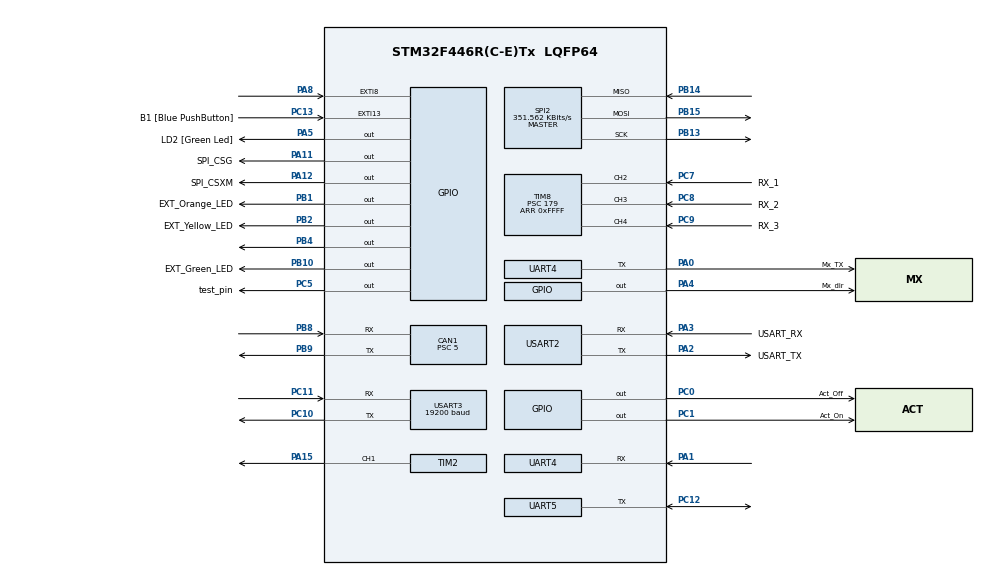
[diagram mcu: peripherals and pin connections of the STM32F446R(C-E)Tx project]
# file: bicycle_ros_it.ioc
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CAN1.ABOM=ENABLE
CAN1.BS1=CAN_BS1_6TQ
CAN1.BS2=CAN_BS2_2TQ
CAN1.CalculateBaudRate=1000000
CAN1.CalculateTimeBit=1000
CAN1.CalculateTimeQuantum=111.11111111111111
CAN1.NART=ENABLE
CAN1.Prescaler=5
Dma.Request0=USART3_TX
Dma.Request1=USART3_RX
Dma.Request2=USART2_RX
Dma.Request3=USART2_TX
Dma.USART2_RX.2.Direction=DMA_PERIPH_TO_MEMORY
Dma.USART2_RX.2.FIFOMode=DMA_FIFOMODE_DISABLE
Dma.USART2_RX.2.Instance=DMA1_Stream5
Dma.USART2_RX.2.MemDataAlignment=DMA_MDATAALIGN_BYTE
Dma.USART2_RX.2.MemInc=DMA_MINC_ENABLE
Dma.USART2_RX.2.Mode=DMA_NORMAL
Dma.USART2_RX.2.PeriphDataAlignment=DMA_PDATAALIGN_BYTE
Dma.USART2_RX.2.PeriphInc=DMA_PINC_DISABLE
Dma.USART2_RX.2.Priority=DMA_PRIORITY_HIGH
Dma.USART2_TX.3.Direction=DMA_MEMORY_TO_PERIPH
Dma.USART2_TX.3.FIFOMode=DMA_FIFOMODE_DISABLE
Dma.USART2_TX.3.Instance=DMA1_Stream6
Dma.USART2_TX.3.MemDataAlignment=DMA_MDATAALIGN_BYTE
Dma.USART2_TX.3.MemInc=DMA_MINC_ENABLE
Dma.USART2_TX.3.Mode=DMA_NORMAL
Dma.USART2_TX.3.PeriphDataAlignment=DMA_PDATAALIGN_BYTE
Dma.USART2_TX.3.PeriphInc=DMA_PINC_DISABLE
Dma.USART2_TX.3.Priority=DMA_PRIORITY_HIGH
Dma.USART3_RX.1.Direction=DMA_PERIPH_TO_MEMORY
Dma.USART3_RX.1.FIFOMode=DMA_FIFOMODE_DISABLE
Dma.USART3_RX.1.Instance=DMA1_Stream1
Dma.USART3_RX.1.MemDataAlignment=DMA_MDATAALIGN_BYTE
Dma.USART3_RX.1.MemInc=DMA_MINC_ENABLE
Dma.USART3_RX.1.Mode=DMA_CIRCULAR
Dma.USART3_RX.1.PeriphDataAlignment=DMA_PDATAALIGN_BYTE
Dma.USART3_RX.1.PeriphInc=DMA_PINC_DISABLE
Dma.USART3_RX.1.Priority=DMA_PRIORITY_LOW
Dma.USART3_TX.0.Direction=DMA_MEMORY_TO_PERIPH
Dma.USART3_TX.0.FIFOMode=DMA_FIFOMODE_DISABLE
Dma.USART3_TX.0.Instance=DMA1_Stream3
Dma.USART3_TX.0.MemDataAlignment=DMA_MDATAALIGN_BYTE
Dma.USART3_TX.0.MemInc=DMA_MINC_ENABLE
Dma.USART3_TX.0.Mode=DMA_NORMAL
Dma.USART3_TX.0.PeriphDataAlignment=DMA_PDATAALIGN_BYTE
Dma.USART3_TX.0.PeriphInc=DMA_PINC_DISABLE
Dma.USART3_TX.0.Priority=DMA_PRIORITY_LOW
Mcu.Family=STM32F4
Mcu.Name=STM32F446R(C-E)Tx
Mcu.Package=LQFP64
NVIC.CAN1_RX0_IRQn=true\:0\:0\:false\:false\:true\:true\:true\:true
NVIC.DMA1_Stream1_IRQn=true\:0\:0\:false\:false\:true\:false\:true\:true
NVIC.DMA1_Stream3_IRQn=true\:0\:0\:false\:false\:true\:false\:true\:true
NVIC.DMA1_Stream5_IRQn=true\:0\:0\:false\:false\:true\:false\:true\:true
NVIC.DMA1_Stream6_IRQn=true\:0\:0\:false\:false\:true\:false\:true\:true
NVIC.PriorityGroup=NVIC_PRIORITYGROUP_0
NVIC.TIM1_TRG_COM_TIM11_IRQn=true\:0\:0\:false\:false\:true\:true\:true\:true
NVIC.TIM2_IRQn=true\:0\:0\:false\:false\:true\:true\:true\:true
NVIC.TIM8_BRK_TIM12_IRQn=true\:0\:0\:false\:false\:true\:true\:true\:true
NVIC.TIM8_CC_IRQn=true\:0\:0\:false\:false\:true\:true\:true\:true
NVIC.TIM8_TRG_COM_TIM14_IRQn=true\:0\:0\:false\:false\:true\:true\:true\:true
NVIC.UART4_IRQn=true\:0\:0\:false\:false\:true\:true\:true\:true
NVIC.USART2_IRQn=true\:0\:0\:false\:false\:true\:true\:true\:true
NVIC.USART3_IRQn=true\:0\:0\:false\:false\:true\:true\:true\:true
PA0-WKUP.GPIO_Label=Mx_TX
PA0-WKUP.Mode=Asynchronous
PA0-WKUP.Signal=UART4_TX
PA1.Mode=Asynchronous
PA1.Signal=UART4_RX
PA11.GPIO_Label=SPI_CSG
PA11.Signal=GPIO_Output
PA12.GPIO_Label=SPI_CSXM
PA12.Signal=GPIO_Output
PA13.GPIO_Label=TMS
PA13.Mode=Serial_Wire
PA13.Signal=SYS_JTMS-SWDIO
PA14.GPIO_Label=TCK
PA14.Mode=Serial_Wire
PA14.Signal=SYS_JTCK-SWCLK
PA15.Signal=S_TIM2_CH1_ETR
PA2.GPIO_Label=USART_TX
PA2.GPIO_PuPd=GPIO_PULLUP
PA2.Mode=Asynchronous
PA2.Signal=USART2_TX
PA3.GPIO_Label=USART_RX
PA3.GPIO_PuPd=GPIO_PULLUP
PA3.Mode=Asynchronous
PA3.Signal=USART2_RX
PA4.GPIO_Label=Mx_dir
PA4.Signal=GPIO_Output
PA5.GPIO_Label=LD2 [Green Led]
PA5.Signal=GPIO_Output
PA8.Signal=GPXTI8
PB1.GPIO_Label=EXT_Orange_LED
PB1.Signal=GPIO_Output
PB10.GPIO_Label=EXT_Green_LED
PB10.Signal=GPIO_Output
PB13.GPIO_Speed=GPIO_SPEED_FREQ_LOW
PB13.Mode=Full_Duplex_Master
PB13.Signal=SPI2_SCK
PB14.GPIO_Speed=GPIO_SPEED_FREQ_LOW
PB14.Mode=Full_Duplex_Master
PB14.Signal=SPI2_MISO
PB15.GPIO_Speed=GPIO_SPEED_FREQ_LOW
PB15.Mode=Full_Duplex_Master
PB15.Signal=SPI2_MOSI
PB2.GPIO_Label=EXT_Yellow_LED
PB2.Signal=GPIO_Output
PB3.GPIO_Label=SWO
PB3.Signal=SYS_JTDO-SWO
PB4.Signal=GPIO_Output
PB8.GPIO_PuPd=GPIO_NOPULL
PB8.Mode=CAN_Activate
PB8.Signal=CAN1_RX
PB9.Mode=CAN_Activate
PB9.Signal=CAN1_TX
PC0.GPIO_Label=Act_Off
PC0.Signal=GPIO_Output
PC1.GPIO_Label=Act_On
PC1.Signal=GPIO_Output
PC10.GPIO_PuPd=GPIO_PULLUP
PC10.Mode=Asynchronous
PC10.Signal=USART3_TX
PC11.GPIO_PuPd=GPIO_PULLUP
PC11.Mode=Asynchronous
PC11.Signal=USART3_RX
PC12.GPIO_PuPd=GPIO_PULLUP
PC12.Mode=Half_duplex(single_wire_mode)
PC12.Signal=UART5_TX
PC13.GPIO_Label=B1 [Blue PushButton]
PC13.GPIO_ModeDefaultEXTI=GPIO_MODE_IT_FALLING
PC13.Signal=GPXTI13
PC14-OSC32_IN.Mode=LSE-External-Oscillator
PC14-OSC32_IN.Signal=RCC_OSC32_IN
PC15-OSC32_OUT.Mode=LSE-External-Oscillator
PC15-OSC32_OUT.Signal=RCC_OSC32_OUT
PC5.GPIO_Label=test_pin
PC5.Signal=GPIO_Output
PC7.GPIO_Label=RX_1
PC7.GPIO_PuPd=GPIO_PULLUP
PC7.Signal=S_TIM8_CH2
PC8.GPIO_Label=RX_2
PC8.GPIO_PuPd=GPIO_PULLUP
PC8.Signal=S_TIM8_CH3
PC9.GPIO_Label=RX_3
PC9.GPIO_PuPd=GPIO_PULLUP
PC9.Signal=S_TIM8_CH4
PH0-OSC_IN.Mode=HSE-External-Clock-Source
PH0-OSC_IN.Signal=RCC_OSC_IN
PH1-OSC_OUT.Mode=HSE-External-Clock-Source
PH1-OSC_OUT.Signal=RCC_OSC_OUT
ProjectManager.HeapSize=0x200
ProjectManager.StackSize=0x400
ProjectManager.TargetToolchain=STM32CubeIDE
RCC.48MHZClocksFreq_Value=84000000
RCC.AHBFreq_Value=180000000
RCC.APB1CLKDivider=RCC_HCLK_DIV4
RCC.APB1Freq_Value=45000000
RCC.APB1TimFreq_Value=90000000
RCC.APB2CLKDivider=RCC_HCLK_DIV2
RCC.APB2Freq_Value=90000000
RCC.APB2TimFreq_Value=180000000
RCC.CortexFreq_Value=180000000
RCC.FLatency-AdvancedSettings=FLASH_LATENCY_5
RCC.HCLKFreq_Value=180000000
RCC.HSE_VALUE=8000000
RCC.HSI_VALUE=16000000
RCC.PLLM=8
RCC.PLLN=360
RCC.PLLSourceVirtual=RCC_PLLSOURCE_HSE
RCC.SYSCLKFreq_VALUE=180000000
RCC.SYSCLKSource=RCC_SYSCLKSOURCE_PLLCLK
RCC.USBFreq_Value=180000000
RCC.VCOOutputFreq_Value=360000000
SH.S_TIM2_CH1_ETR.0=TIM2_CH1,Output Compare1 CH1
SH.S_TIM8_CH2.0=TIM8_CH2,PWM_Input_2
SH.S_TIM8_CH3.0=TIM8_CH3,Input_Capture3_from_TI3
SH.S_TIM8_CH4.0=TIM8_CH4,Input_Capture4_from_TI4
SPI2.BaudRatePrescaler=SPI_BAUDRATEPRESCALER_128
SPI2.CLKPhase=SPI_PHASE_2EDGE
SPI2.CLKPolarity=SPI_POLARITY_HIGH
SPI2.CalculateBaudRate=351.562 KBits/s
SPI2.DataSize=SPI_DATASIZE_16BIT
SPI2.Direction=SPI_DIRECTION_2LINES
SPI2.Mode=SPI_MODE_MASTER
SPI2.VirtualType=VM_MASTER
TIM11.Period=60000
TIM11.Prescaler=29
TIM12.Period=60000
TIM12.Prescaler=49
TIM14.Period=60000
TIM14.Prescaler=149
TIM2.Channel-Output\ Compare1\ CH1=TIM_CHANNEL_1
TIM5.Channel-Output\ Compare1\ No\ Output=TIM_CHANNEL_1
TIM8.Channel-Input_Capture3_from_TI3=TIM_CHANNEL_3
TIM8.Channel-Input_Capture4_from_TI4=TIM_CHANNEL_4
TIM8.ICFilter_1=2
TIM8.ICFilter_2=2
TIM8.ICFilter_CH3=2
TIM8.ICFilter_CH4=2
TIM8.ICPolarity_1=TIM_INPUTCHANNELPOLARITY_FALLING
TIM8.ICPolarity_CH3=TIM_INPUTCHANNELPOLARITY_FALLING
TIM8.ICPolarity_CH4=TIM_INPUTCHANNELPOLARITY_FALLING
TIM8.Period=0xFFFF
TIM8.Prescaler=179
UART4.BaudRate=1000000
UART4.VirtualMode=Asynchronous
UART5.VirtualMode=Asynchronous
USART2.VirtualMode=VM_ASYNC
USART3.BaudRate=19200
USART3.VirtualMode=VM_ASYNC
VP_TIM11_VS_ClockSourceINT.Mode=Enable_Timer
VP_TIM12_VS_ClockSourceINT.Mode=Internal
VP_TIM14_VS_ClockSourceINT.Mode=Enable_Timer
VP_TIM5_VS_no_output1.Mode=Output Compare1 No Output
VP_TIM8_VS_ClockSourceINT.Mode=Internal
board=NUCLEO-F446RE

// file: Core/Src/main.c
/* USER CODE BEGIN Header */
/**
  ******************************************************************************
  * @file           : main.c
  * @brief          : Main program body
  ******************************************************************************
  * @attention
  *
  * Copyright (c) 2023 STMicroelectronics.
  * All rights reserved.
  *
  * This software is licensed under terms that can be found in the LICENSE file
  * in the root directory of this software component.
  * If no LICENSE file comes with this software, it is provided AS-IS.
  *
  ******************************************************************************
  */
/* USER CODE END Header */
#include "main.h"
#include "can.h"
#include "dma.h"
#include "spi.h"
#include "tim.h"
#include "usart.h"
#include "gpio.h"

/* USER CODE BEGIN Includes */
#include "mainpp.h"
#include <stdio.h>
#include "OpenIMU.h"
#include "sensor_fusion.h"
#include "MxMotor.h"
#include "dynamixel.h"
#include "controller.h"
#include "EKF.h"
#include "pure_pursuit.h"
#include "Tracking.h"
#include "LCD.h"
#include "can.h"
/* USER CODE END Includes */

/* USER CODE BEGIN PD */
#ifdef __GNUC__
  #define PUTCHAR_PROTOTYPE int __io_putchar(int ch)
#else
  #define PUTCHAR_PROTOTYPE int fputc(int ch, FILE *f)
#endif /* __GNUC__ */
/* USER CODE END PD */

/* USER CODE BEGIN PV */
int i = 0;

CAN_TxHeaderTypeDef TxMSG;
CAN_RxHeaderTypeDef RxMSG;
uint8_t TxData[8];
uint8_t RxData[8];
uint32_t TxMailbox;
float V_current;
uint8_t gpsdata[36];  // for details, read stm32f4xx_it.c usart3
uint8_t update_gps;
float velocity_cmd = V_REF;
float imu_bias = 0;
uint8_t emergency_brake_flag = 0;
uint8_t velocity_cmd_flag = 0;		// Remote on mean velocity > 0
uint8_t tracking_first_flag = 0;		// to recoder the first shift time	//Remember

float delta_ref = MXHEX_CENTER* PI / 180.0f;
float theta_x = 0.0f;
float theta_y = 0.0f;
float acc[3]  = { 0.0f, 0.0f, -GRAVITY };
float gyro[3] = { 0.0f };

float state[3] = {0};
float tracking_control[2] = { 0 };                  // tracking output (1):velocity (m/s) (2):omega (rad/s)
// ============= Remote Parameters ===============
uint16_t RX1 = REMOTE_CENTER;
uint16_t RX2 = REMOTE_CENTER;
uint16_t RX3 = REMOTE_LOWER;
/* USER CODE END PV */

void SystemClock_Config(void);
/* USER CODE BEGIN PFP */
uint8_t check_sum(void);	// check the DMA GPS data checkSum
void EmergencyBrake(void);	// let the vehicle stop
/* USER CODE END PFP */

int main(void)
{

  /* MCU Configuration--------------------------------------------------------*/

  /* Reset of all peripherals, Initializes the Flash interface and the Systick. */
  HAL_Init();

  /* Configure the system clock */
  SystemClock_Config();

  /* USER CODE BEGIN SysInit */
  LL_Init1msTick(180000000);			//Add here to fix MX generated code
  LL_SYSTICK_SetClkSource(LL_SYSTICK_CLKSOURCE_HCLK);
  LL_SYSTICK_EnableIT();
  /* USER CODE END SysInit */

  /* Initialize all configured peripherals */
  MX_GPIO_Init();
  MX_DMA_Init();
  MX_CAN1_Init();
  MX_SPI2_Init();
  MX_TIM2_Init();
  MX_TIM5_Init();
  MX_TIM8_Init();
  MX_UART4_Init();
  MX_USART2_UART_Init();
  MX_USART3_UART_Init();
  MX_UART5_Init();
  MX_TIM14_Init();
  MX_TIM12_Init();
  MX_TIM11_Init();
  /* USER CODE BEGIN 2 */
#ifdef USE_ROS
  setup();
  HAL_TIM_Base_Start_IT(&htim14);
#endif
//  HAL_TIM_Base_Start_IT(&htim5);
  HAL_TIM_Base_Start_IT(&htim11);
  HAL_TIM_Base_Start_IT(&htim12);

  // ========== INITIALIZE CAN =======================
  CAN_Filter_Init();
  TxMSG_Init(&TxMSG);
  if (HAL_CAN_Start(&hcan1) != HAL_OK) {
   while (1);
  }
  HAL_CAN_ActivateNotification(&hcan1, CAN_IT_RX_FIFO0_MSG_PENDING);

  // =========== INTERRUPT ENABLE ====================
  LL_USART_EnableIT_RXNE(UART4);
  LL_TIM_EnableIT_CC1(TIM2);
  LL_USART_EnableIT_RXNE(USART3);
  LL_TIM_CC_EnableChannel(TIM8,	TIM_CCER_CC1E | TIM_CCER_CC2E |
     TIM_CCER_CC3E | TIM_CCER_CC4E);	// Enable all PWM input port
  LL_TIM_EnableIT_CC1(TIM8);			// Enable PWM input capture interrupt
  LL_TIM_EnableCounter(TIM8);			// Start timer8 for PWM input capture
  LL_EXTI_EnableRisingTrig_0_31(LL_EXTI_LINE_8);
  LL_EXTI_EnableIT_0_31(LL_EXTI_LINE_8);

  // ============ GPS DMA SETUP =======================
  LL_DMA_SetPeriphAddress(DMA1, LL_DMA_STREAM_1, LL_USART_DMA_GetRegAddr(USART3));
  LL_DMA_SetMemoryAddress(DMA1, LL_DMA_STREAM_1, (uint32_t) gpsdata);
  LL_DMA_SetDataLength(DMA1, LL_DMA_STREAM_1, sizeof(gpsdata));

  // ============ HAL Time Interrupt Initialize =======
  uint32_t now = 0;
  uint32_t oldlog_time = 0;
  uint32_t oldfir_time = 0;
  uint32_t oldcan_time = 0;
  uint32_t olddebug_time = 0;
  uint32_t oldcol_time = 0;
  uint32_t oldekf_time = 0;
  uint32_t oldrmt_time = 0;
  uint32_t time_start = 0;				// to record back support down time
  uint32_t time_stop = 0;

  // ============ Flag Parameter Initialize ===========
  uint8_t vel_first_flag = 0;			// velocity > limit minimum velocity (1.5)
//  uint8_t velocity_cmd_flag = 0;		// Remote on mean velocity > 0
  uint8_t check_flag = 0; 				// GPS check sum
  uint8_t turn_circle_flag = 0;			// tracking line or arc
//  uint8_t tracking_first_flag = 0;		// to recoder the first shift time	//Remember
//  uint8_t emergency_brake_flag = 0;		// Emergency Brake System
//
  // ============ Tracking Parameter Initialize =======
  float way_point_begin[2] = { 60.2217f, 8.9381f};	  // tracking begin way_point
  float way_point_end[2]   = { 10.06f, 32.6295f };    // tracking end way_point
  float circle_point[2]    = { 13.2039f, 39.2861f };  // if tracking trajectory is arc
  float radius = 7.3617f;					          // tracking trajectory arc radius
//  float tracking_control[2] = { 0 };                  // tracking output (1):velocity (m/s) (2):omega (rad/s)
  float stateD[3] = { 0.0f };
//  float imu_bias = 0;
  uint8_t line = 3;									  // tracking stage
  uint8_t stage = 8;
  uint32_t time_shift = 0;	                          // normalize time in tracking process each stage

//  // ============= Remote Parameters ===============
//  uint16_t RX1 = REMOTE_CENTER;
//  uint16_t RX2 = REMOTE_CENTER;
//  uint16_t RX3 = REMOTE_LOWER;

  // ============= CAN Parameters ==================
//  float velocity_cmd = V_REF;

//  // ============= IMU Parameters ==================
//  float theta_x = 0.0f;
//  float theta_y = 0.0f;
//  float acc[3]  = { 0.0f, 0.0f, -GRAVITY };
//  float gyro[3] = { 0.0f };
//
  // ============= Controller Parameters ===========
  float remote_control = 0.0f;
  float delta_goal     = 0.0f;

  // ============= EKF Parameters ==================
  float init_x = 79.5f;								//the vehicle initial point
  float init_y = -3.0f;
  float init_phi = 2.7f;
  float point_current[2] = { init_x, init_y };
  float gps_drift[2] = {0.0f};
  float horizontal_accuracy = 0.0f;
  float vertical_accuracy = 0.0f;
  double lat_current;
  double lon_current;
  float mu[4] = { init_x, init_y, init_phi, 0.0f }; // X Y Phi velocity

  // ============= LCD Parameters ==================
  uint8_t LCD_tx[17] = {0};

  // ============= MX Motor Initialization ========
#ifdef INIT_MX
  HAL_Delay(1000);							//wait init 1(second)
#if MXSPEEDCTRL == 0
  AngleLimit(MXUPPER_BOUND, MXLOWER_BOUND); // setup the Mx motor limit angle
//	PIDsetup(185,115,15);					// Mx motor setup PID gain
  Motor();									// so min control angle 0.088 degree
#endif
#if MXSPEEDCTRL == 1
  AngleLimit(0x00, 0x00);
  HAL_Delay(1000);
  dxl_write_word(MOTOR_ID, P_GOAL_SPEED_L, 0x00); // >0x400 is turn left
  printf("Hello this is Mx motor speed mode\r\n");
#endif
//	Torque_off();
#endif

  // ====== Lower Back Support Of Bicycle ========
#ifdef REMOTE_START
  LL_GPIO_ResetOutputPin(GPIOC, Act_Off_Pin);	// down
  LL_GPIO_SetOutputPin(GPIOC, Act_On_Pin);
#endif

  // ============= LCD Initialization ========
  HAL_HalfDuplex_EnableTransmitter(&huart5); 	// LCD display
  /* USER CODE END 2 */

  /* Infinite loop */
  /* USER CODE BEGIN WHILE */
  while (1)
  {

	// ================== Start CAN Logger And LCD ================
#ifdef CANLOG
	now = HAL_GetTick();
	uint16_t logdt = now - oldlog_time;
	if (logdt >= CANLOGSAMPLE) {
		oldlog_time = HAL_GetTick();
		float accuracy[2] = {vertical_accuracy, horizontal_accuracy};
		CanLogger(theta_x, theta_y, gyro, acc, mu, check_flag,
				remote_control, delta_goal, point_current, tracking_control,
				tracking_first_flag, stateD, accuracy); // need final test

		// ============ Pass LCD Data At Every Can Tick ============
#ifdef LCD
		LcdData(LCD_tx, mu, accuracy, point_current, V_current, theta_x, theta_y, tracking_first_flag);
		HAL_UART_Transmit(&huart5, LCD_tx, sizeof(LCD_tx), 2000);
#endif
	}
#endif

	//  ========================== Remote control ==========================
	if(!velocity_cmd_flag){
	    estimator(theta_x, gyro[0], &imu_bias);
	}

	if (!vel_first_flag) {
#ifdef VELOCITY
#ifdef REMOTE_START
		if (RX3 >= REMOTE_UPPER * (1 - REMOTE_ERROR) && RX3 <= REMOTE_UPPER * (1 + REMOTE_ERROR)) {//if remote is on
			// Activates when the switch on the side is switched up! Turn the velocity_cmd_flag on
			velocity_cmd = V_REF;
			velocity_cmd_flag = 1;
		} else {
			velocity_cmd = 0.0f;
			velocity_cmd_flag = 0;
		}
#endif
		// =========== Lift Back Support Of Bicycle At V_STD ==============
		if (V_current > V_STD) {
			vel_first_flag = 1;							//@TODO maybe need to check v0 > 1.5(m/s) if velocity have peak
			LL_GPIO_SetOutputPin(GPIOC, Act_Off_Pin);	//up
			LL_GPIO_SetOutputPin(GPIOC, Act_On_Pin);
		}

#ifdef NOSPEEDMODE
		if(velocity_cmd_flag)vel_first_flag = 1;
#endif

#endif
	}else{
#ifdef REMOTE_STOP
		// ============== Situation Where The Remote Is Switched Off =========
		if (RX3 <= REMOTE_LOWER * (1 + REMOTE_ERROR) && RX3 >= REMOTE_LOWER * (1 - REMOTE_ERROR)) {
			// ========== Lower back support ==================================
			LL_GPIO_ResetOutputPin(GPIOC, Act_Off_Pin);	//down
			LL_GPIO_SetOutputPin(GPIOC, Act_On_Pin);

			// ========== Count down time till back support is fully lowered, then stop the vehicle
			if (time_start == 0) {
				time_start = HAL_GetTick();
			} else {
				time_stop = HAL_GetTick();
				uint16_t cntdt = time_stop - time_start;
				if (cntdt > BACKSUPTIME) {		// to calculate 18 second
					emergency_brake_flag = 1;
				}
			}
		}
#endif
	}

#if TESTEKF == 1
	if (RX2 <= REMOTE_LOWER * (1 + REMOTE_ERROR) && RX2 >= (1 - REMOTE_ERROR) * REMOTE_LOWER) {
		// Pull down the trigger to lift the back support up
		LL_GPIO_SetOutputPin(GPIOC, Act_Off_Pin);
		LL_GPIO_SetOutputPin(GPIOC, Act_On_Pin);
	}else{
		if(velocity_cmd_flag) {
			velocity_cmd = V_REF;
			tracking_control[0] = V_REF;
		}
	}
#endif

	// Stop bicycle by pulling up the controller trigger (Actual breaking system!!)
	if (RX2 <= REMOTE_UPPER * (1 + REMOTE_ERROR) && RX2 >= REMOTE_UPPER * (1 - REMOTE_ERROR)){
		emergency_brake_flag = 1;
	}
	if(emergency_brake_flag) EmergencyBrake();

	// ================= Read IMU Data Through SPI2 =======================
#ifdef USE_OPENIMU
	if (LL_EXTI_ReadFlag_0_31(LL_EXTI_LINE_8)) {  // Read IMU data when external interrupt triggered from IMU
		openIMU(&theta_x, acc, gyro, &theta_y);
		LL_EXTI_ClearFlag_0_31(LL_EXTI_LINE_8);
	}
#endif

	// ================= IMU Position Display (LED Shield) =================
#ifdef USE_TILTLED
	if (tracking_first_flag == 0){
		// light signal (shield LED)
		if (theta_x == 0 && theta_y == 0){                       	   // if no IMU data is received, make all three lights light up
			HAL_GPIO_WritePin(GPIOB, GPIO_PIN_1 ,GPIO_PIN_SET); 	   // Green LED (right)
			HAL_GPIO_WritePin(GPIOB, GPIO_PIN_2 ,GPIO_PIN_SET);  	   // Red   LED (middle)
			HAL_GPIO_WritePin(GPIOB, GPIO_PIN_10,GPIO_PIN_SET);  	   // Green LED (left)
		}
		else{
			double angle_margin = 0.02;
			if (theta_x > (0.0 + angle_margin)){                       // if the bicycle is about horizontal, light up the red LED
				HAL_GPIO_WritePin(GPIOB, GPIO_PIN_1 ,GPIO_PIN_RESET);  // Green LED
				HAL_GPIO_WritePin(GPIOB, GPIO_PIN_2 ,GPIO_PIN_SET);    // Red   LED
				HAL_GPIO_WritePin(GPIOB, GPIO_PIN_10,GPIO_PIN_RESET);  // Green LED
			}
			else if (theta_x < (0.0 - angle_margin)){                  // if the bicycle is tilted left (about x-axis), light up the left green LED
				HAL_GPIO_WritePin(GPIOB, GPIO_PIN_1 ,GPIO_PIN_RESET);  // Green LED
				HAL_GPIO_WritePin(GPIOB, GPIO_PIN_2 ,GPIO_PIN_RESET);  // Red   LED
				HAL_GPIO_WritePin(GPIOB, GPIO_PIN_10,GPIO_PIN_SET);    // Green LED
			}
			else{                                                      // if the bicycle is tilted right (about x-axis), light up the right green LED
				HAL_GPIO_WritePin(GPIOB, GPIO_PIN_1 ,GPIO_PIN_SET);    // Green LED
				HAL_GPIO_WritePin(GPIOB, GPIO_PIN_2 ,GPIO_PIN_RESET);  // Red   LED
				HAL_GPIO_WritePin(GPIOB, GPIO_PIN_10,GPIO_PIN_RESET);  // Green LED
			}
		}
	}
#endif

	// ========================== Open RTK GPS ==========================
#ifdef RTK_GPS
	now = HAL_GetTick();
	uint16_t ekfdt = now - oldekf_time;
	if (ekfdt >= EKFSAMPLE) {
		if(update_gps && velocity_cmd_flag){        // First check if the GPS data is correct
			check_flag = check_sum();
			if (check_flag != 3) {
				update_gps = 0;						// if check sum error (not equal to 3), don't update GPS
			}
		}
		if (update_gps) {							// Process the "correct" GPS data
			readGPS(&lat_current, &lon_current);
			gpsXY(lat_current, lon_current, point_current);
			ReadAccuracyEstimate(&horizontal_accuracy,&vertical_accuracy);
		}
		if (velocity_cmd_flag) {					// "velocity_cmd_flag":= The bicycle is moving
			if(update_gps){
				point_current[0] = point_current[0] + gps_drift[0];
				point_current[1] = point_current[1] + gps_drift[1];
			}
			// ========== Perform The EKF Algorithm For Localization ===========
//			EKF_filter(mu, theta_x, acc, gyro, point_current, V_current, theta_y, horizontal_accuracy);
		} else {
			gps_drift[0] = init_x - point_current[0];  // Seems like the distance difference instead of drift?
			gps_drift[1] = init_y - point_current[1];
		}
	}
#endif

	// ================ EKF Mode, Pass current velocity to EKF ===============
#ifndef EKF
	mu[3] = V_current;  // Seems unnecessary?
#endif

// ======================= Read MX Motor Position ======================
	int delta_refu16_tmp = 0;
	uint8_t position_state;
	delta_refu16_tmp = dxl_read_word(MOTOR_ID, P_PRESENT_POSITION_L);
	position_state = dxl_get_result();
	if (position_state == COMM_RXSUCCESS) {
		if (delta_refu16_tmp < MXUPPER_BOUND && delta_refu16_tmp > MXLOWER_BOUND) {
			delta_ref = (float) (MXHEX_CENTER - delta_refu16_tmp) * MXHEX2DEC * DEG2RAD;
		}
	}

	// ====================== Compute state ======================
	state[0] = theta_x;
	state[1] = gyro[0];
	state[2] = delta_ref;

	// ================ Bicycle Control ======================================
#ifdef CONTROL
	now = HAL_GetTick();
	uint16_t coldt = now - oldcol_time;
	if (coldt >= COLSAMPLE && vel_first_flag) {
		oldcol_time = HAL_GetTick();
#if MXSPEEDCTRL == 0
		float disx = powf(mu[0] - stateD[0], 2);  // Distance between "current state" and "tracking virtual state"
		float disy = powf(mu[1] - stateD[1], 2);
		float dis_mu2state = sqrtf(disx + disy);
		uint8_t dis_flag = dis_mu2state > 0.5f ? 1 : 0;
		dis_flag = line == 3 ? dis_flag : 0;
//		PDControl(theta_x, gyro[0], tracking_control[1], &remote_control, &delta_goal,dis_flag, imu_bias);
//		LMII(theta_x, gyro[0], tracking_control[0], tracking_control[1], &remote_control, &delta_goal, V_current,dis_flag, imu_bias);

//		LMIII(state, V_current, tracking_control, RX1);
		PDD(state, V_current, tracking_control, RX1, dis_flag);
#endif

#if MXSPEEDCTRL == 1
		float disx = powf(mu[0] - stateD[0], 2);
		float disy = powf(mu[1] - stateD[1], 2);
		float dis_mu2state = sqrtf(disx + disy);
		uint8_t dis_flag = dis_mu2state > 0.5f ? 1 : 0;
		dis_flag = line == 3 ? dis_flag : 0;
		PDControl(theta_x, gyro[0], tracking_control[1], &remote_control, &delta_goal,dis_flag);
		controldesign(theta_x, gyro[0], tracking_control[1], &remote_control, &delta_goal, mu[3]);
#endif
	}
#endif

	float acc_x = acc[0] + GRAVITY*sinf(theta_y);
	float position_omega = gyro[2]/cosf(theta_x);
	loop2(&theta_x, &gyro[0], &delta_ref, &V_current, tracking_control, acc_x, position_omega, &lat_current, &lon_current, &horizontal_accuracy, (int)update_gps, point_current);

//	printf("vel: %d\r\n", (int)(V_current*10));
    /* USER CODE END WHILE */

  }
}

void SystemClock_Config(void)
{
  LL_FLASH_SetLatency(LL_FLASH_LATENCY_5);
  while(LL_FLASH_GetLatency()!= LL_FLASH_LATENCY_5)
  {
  }
  LL_PWR_SetRegulVoltageScaling(LL_PWR_REGU_VOLTAGE_SCALE1);
  LL_PWR_EnableOverDriveMode();
  LL_RCC_HSE_EnableBypass();
  LL_RCC_HSE_Enable();

   /* Wait till HSE is ready */
  while(LL_RCC_HSE_IsReady() != 1)
  {

  }
  LL_RCC_PLL_ConfigDomain_SYS(LL_RCC_PLLSOURCE_HSE, LL_RCC_PLLM_DIV_8, 360, LL_RCC_PLLP_DIV_2);
  LL_RCC_PLL_Enable();

   /* Wait till PLL is ready */
  while(LL_RCC_PLL_IsReady() != 1)
  {

  }
  LL_RCC_SetAHBPrescaler(LL_RCC_SYSCLK_DIV_1);
  LL_RCC_SetAPB1Prescaler(LL_RCC_APB1_DIV_4);
  LL_RCC_SetAPB2Prescaler(LL_RCC_APB2_DIV_2);
  LL_RCC_SetSysClkSource(LL_RCC_SYS_CLKSOURCE_PLL);

   /* Wait till System clock is ready */
  while(LL_RCC_GetSysClkSource() != LL_RCC_SYS_CLKSOURCE_STATUS_PLL)
  {

  }
  LL_SetSystemCoreClock(180000000);

   /* Update the time base */
  if (HAL_InitTick (TICK_INT_PRIORITY) != HAL_OK)
  {
    Error_Handler();
  }
  LL_RCC_SetTIMPrescaler(LL_RCC_TIM_PRESCALER_TWICE);
}

/* USER CODE BEGIN 4 */
int _write(int file, char *ptr, int len) {
	int DataIdx;
	for (DataIdx = 0; DataIdx < len; DataIdx++) {
		LL_USART_TransmitData8(USART2, (uint8_t) *ptr++);
		while (LL_USART_IsActiveFlag_TXE(USART2) == RESET)
			;
	}
	return len;
}

void start_read(uint16_t *RX1, uint16_t *RX2, uint16_t *RX3) {
	*RX1 = LL_TIM_IC_GetCaptureCH1(TIM8);
	*RX2 = LL_TIM_IC_GetCaptureCH3(TIM8);
	*RX3 = LL_TIM_IC_GetCaptureCH4(TIM8);	// *this is correct to read CH3
}

uint8_t check_sum() {	//checkSum A OK is one , checkSum B OK is two , if all OK return three
	uint8_t flag = 0;
	uint8_t CK_A = 0;
	uint8_t CK_B = 0;
	for (int i = 2; i < sizeof(gpsdata) - 2; i++) {
		CK_A = CK_A + gpsdata[i];
		CK_B = CK_B + CK_A;
	}
	if (CK_A == gpsdata[sizeof(gpsdata) - 2]) {
		flag = 2;
	}
	if (CK_B == gpsdata[sizeof(gpsdata) - 1]) {
		flag++;
	}
	return flag;
}

void EmergencyBrake(void){	// make vehicle stop and shut down system

	float velocity_cmd_stop =0.1f; // the FOC v_cmd 0-m/s is 0 Torque

	uint32_t now = 0;
	now = HAL_GetTick();
	while (HAL_CAN_GetTxMailboxesFreeLevel(&hcan1) == 0) {// have to wait because can message must transmit in time
		if ((HAL_GetTick() - now) > 4U) {
			break;
		}
	}
	if (HAL_CAN_GetTxMailboxesFreeLevel(&hcan1) != 0) {
		uint16_t v_cmd;
		v_cmd = velocity_cmd_stop * CAN_TX_GAIN;
		TxData[1] = v_cmd >> 8U;
		TxData[0] = v_cmd;
		TxMSG.StdId = CAN_V_CMD_ID;
		HAL_CAN_AddTxMessage(&hcan1, &TxMSG, TxData, &TxMailbox);
//		printf("yoyoyo\r\n");
	}
	HAL_Delay(15000);	// let the vehicle stop and receive nothing command
}

void HAL_TIM_PeriodElapsedCallback(TIM_HandleTypeDef *htim)
{
	// ============= Publish/Subscribe from ROS ==================
    if (htim->Instance == htim14.Instance)
    {
//    	HAL_GPIO_TogglePin(GPIOC, GPIO_PIN_5);
//    	i ++;
//    	int a = i%120;
//#ifdef USE_ROS
//    	int b = (int)delta_ref*100;
//    	loop(&a);
//    	loop2(&theta_x, &gyro[0], &delta_ref, &V_current, tracking_control);
//#endif
    }

   	// ======= Transmit v_tmp Through CAN Bus To Rear Wheel ========
	if (htim->Instance == htim12.Instance)
	{
		if(!emergency_brake_flag){
#ifdef VELOCITY
			// ======= Transmit v_tmp Through CAN Bus To Rear Wheel ========
			float v_tmp = velocity_cmd;
			if(!velocity_cmd_flag){
				v_tmp = 0;
			}
			// ======= Disable Velocity Command In TESTEKF Mode ========
#if TESTEKF == 0
			if(tracking_first_flag){
				v_tmp = tracking_control[0];
				if (tracking_control[0] > V_MAX) v_tmp = V_MAX;
				if (tracking_control[0] < V_MIN) v_tmp = V_MIN;
			}
#endif

#ifdef NOSPEEDMODE
			v_tmp = 0;
#endif
			if (HAL_CAN_GetTxMailboxesFreeLevel(&hcan1) != 0) {
				uint16_t v_cmd;
				v_cmd = v_tmp * CAN_TX_GAIN;
				TxData[1] = v_cmd >> 8U;
				TxData[0] = v_cmd;
				TxMSG.StdId = CAN_V_CMD_ID;
				HAL_CAN_AddTxMessage(&hcan1, &TxMSG, TxData, &TxMailbox);
			}
#endif
		}
	}

    // ================== Remote Control Interrupt 10Hz ======================
    if (htim->Instance == htim11.Instance)
	{
    	start_read(&RX1, &RX2, &RX3);
	}
}

/* USER CODE END 4 */

void Error_Handler(void)
{
  __disable_irq();
  while (1)
  {
  }
}
